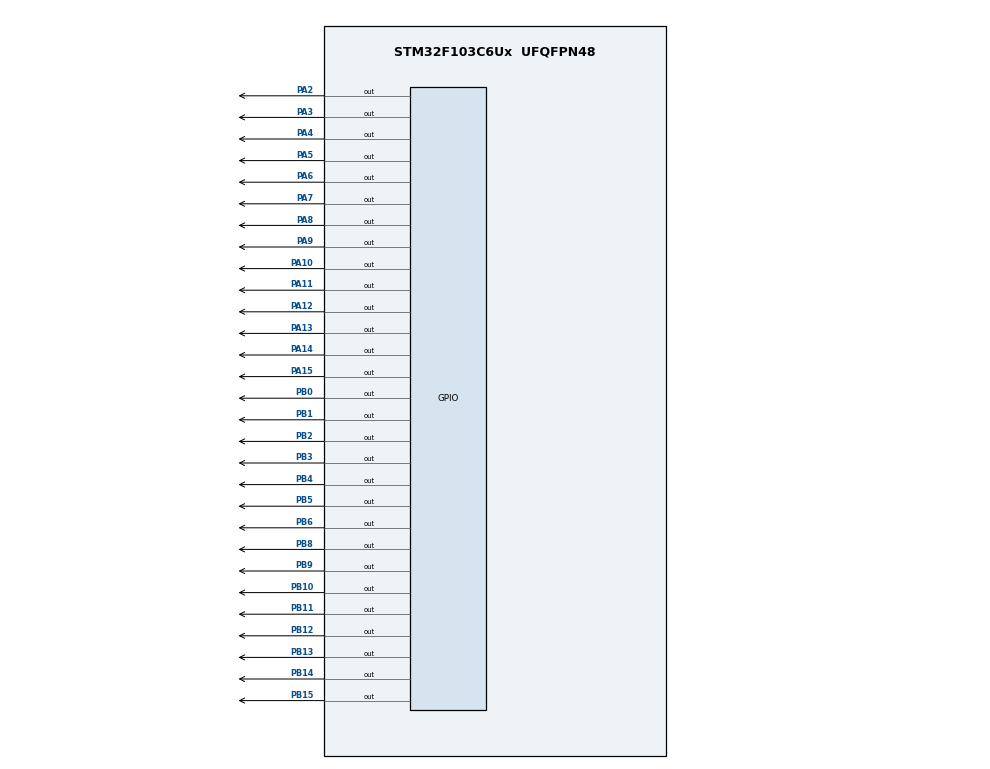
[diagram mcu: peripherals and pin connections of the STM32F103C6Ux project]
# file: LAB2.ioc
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Mcu.Family=STM32F1
Mcu.Name=STM32F103C6Ux
Mcu.Package=UFQFPN48
NVIC.PriorityGroup=NVIC_PRIORITYGROUP_4
NVIC.TIM2_IRQn=true\:0\:0\:false\:false\:true\:true\:true
PA10.Signal=GPIO_Output
PA11.Signal=GPIO_Output
PA12.Signal=GPIO_Output
PA13.Signal=GPIO_Output
PA14.Signal=GPIO_Output
PA15.Signal=GPIO_Output
PA2.Signal=GPIO_Output
PA3.Signal=GPIO_Output
PA4.Signal=GPIO_Output
PA5.Signal=GPIO_Output
PA6.Signal=GPIO_Output
PA7.Signal=GPIO_Output
PA8.Signal=GPIO_Output
PA9.Signal=GPIO_Output
PB0.Signal=GPIO_Output
PB1.Signal=GPIO_Output
PB10.Signal=GPIO_Output
PB11.Signal=GPIO_Output
PB12.Signal=GPIO_Output
PB13.Signal=GPIO_Output
PB14.Signal=GPIO_Output
PB15.Signal=GPIO_Output
PB2.Signal=GPIO_Output
PB3.Signal=GPIO_Output
PB4.Signal=GPIO_Output
PB5.Signal=GPIO_Output
PB6.Signal=GPIO_Output
PB8.Signal=GPIO_Output
PB9.Signal=GPIO_Output
ProjectManager.HeapSize=0x200
ProjectManager.StackSize=0x400
ProjectManager.TargetToolchain=STM32CubeIDE
RCC.APB1Freq_Value=8000000
RCC.APB2Freq_Value=8000000
TIM2.Period=9
TIM2.Prescaler=7999
VP_SYS_VS_ND.Mode=No_Debug
VP_TIM2_VS_ClockSourceINT.Mode=Internal
board=custom

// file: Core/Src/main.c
/* USER CODE BEGIN Header */
/**
  ******************************************************************************
  * @file           : main.c
  * @brief          : Main program body
  ******************************************************************************
  * @attention
  *
  * <h2><center>&copy; Copyright (c) 2026 STMicroelectronics.
  * All rights reserved.</center></h2>
  *
  * This software component is licensed by ST under BSD 3-Clause license,
  * the "License"; You may not use this file except in compliance with the
  * License. You may obtain a copy of the License at:
  *                        opensource.org/licenses/BSD-3-Clause
  *
  ******************************************************************************
  */
/* USER CODE END Header */
#include "main.h"

TIM_HandleTypeDef htim2;

void SystemClock_Config(void);
static void MX_GPIO_Init(void);
static void MX_TIM2_Init(void);

/* USER CODE BEGIN 0 */
#define MAX_LED 4

int index_led = 0;
volatile int led_buffer[MAX_LED] = {1, 2, 3, 0};

int hour = 15, minute = 8, second = 50;

// Bien dem cho cac bai quet LED bang ngat (EX1 -> EX5, EX7)
int seg_counter = 50;
int dot_counter = 100;
int led_status  = 0;

void display7SEG(int num) {
    const uint8_t segmentTable[10] = {0x3F, 0x06, 0x5B, 0x4F, 0x66,
                                      0x6D, 0x7D, 0x07, 0x7F, 0x6F};
    if (num < 0 || num > 9) return;
    uint8_t pattern = segmentTable[num];
    for (int i = 0; i < 7; i++) {
        HAL_GPIO_WritePin(GPIOB, (uint16_t)(GPIO_PIN_0 << i),
                          (pattern & (1 << i)) ? GPIO_PIN_RESET : GPIO_PIN_SET);
    }
}

void turnOffAll7SEG(void) {
    HAL_GPIO_WritePin(GPIOA, GPIO_PIN_6 | GPIO_PIN_7 | GPIO_PIN_8 | GPIO_PIN_9,
                      GPIO_PIN_SET);
}

// EX3: hien thi LED thu index voi gia tri led_buffer[index]
void update7SEG(int index) {
    turnOffAll7SEG();   // tat het truoc de chong bong ma
    switch (index) {
        case 0:
            display7SEG(led_buffer[0]);
            HAL_GPIO_WritePin(GPIOA, GPIO_PIN_6, GPIO_PIN_RESET);
            break;
        case 1:
            display7SEG(led_buffer[1]);
            HAL_GPIO_WritePin(GPIOA, GPIO_PIN_7, GPIO_PIN_RESET);
            break;
        case 2:
            display7SEG(led_buffer[2]);
            HAL_GPIO_WritePin(GPIOA, GPIO_PIN_8, GPIO_PIN_RESET);
            break;
        case 3:
            display7SEG(led_buffer[3]);
            HAL_GPIO_WritePin(GPIOA, GPIO_PIN_9, GPIO_PIN_RESET);
            break;
        default:
            break;
    }
}

// EX5: tach gio/phut thanh 4 chu so, them so 0 o dau neu can
void updateClockBuffer(void) {
    led_buffer[0] = hour / 10;
    led_buffer[1] = hour % 10;
    led_buffer[2] = minute / 10;
    led_buffer[3] = minute % 10;
}

void updateClock(void) {
    second++;
    if (second >= 60) { second = 0; minute++; }
    if (minute >= 60) { minute = 0; hour++; }
    if (hour >= 24)   { hour = 0; }
}

// EX6: software timer
// timer0: dong ho / LED do, timer1: quet 7SEG,
// timer2: quet LED matrix (EX9), timer3: animation matrix (EX10)
volatile int timer0_counter = 0;
volatile int timer0_flag = 0;
volatile int timer1_counter = 0;
volatile int timer1_flag = 0;
volatile int timer2_counter = 0;
volatile int timer2_flag = 0;
volatile int timer3_counter = 0;
volatile int timer3_flag = 0;
int TIMER_CYCLE = 10;   // chu ky ngat TIM2 = 10ms

void setTimer0(int duration) {
    timer0_flag = 0;                          // xoa flag TRUOC khi nap counter
    timer0_counter = duration / TIMER_CYCLE;
}

void setTimer1(int duration) {
    timer1_flag = 0;                          // xoa flag TRUOC khi nap counter
    timer1_counter = duration / TIMER_CYCLE;
}

void setTimer2(int duration) {
    timer2_flag = 0;                          // xoa flag TRUOC khi nap counter
    timer2_counter = duration / TIMER_CYCLE;
}

void setTimer3(int duration) {
    timer3_flag = 0;                          // xoa flag TRUOC khi nap counter
    timer3_counter = duration / TIMER_CYCLE;
}

void timer_run(void) {
    if (timer0_counter > 0) {
        timer0_counter--;
        if (timer0_counter == 0) timer0_flag = 1;
    }
    if (timer1_counter > 0) {
        timer1_counter--;
        if (timer1_counter == 0) timer1_flag = 1;
    }
    if (timer2_counter > 0) {
        timer2_counter--;
        if (timer2_counter == 0) timer2_flag = 1;
    }
    if (timer3_counter > 0) {
        timer3_counter--;
        if (timer3_counter == 0) timer3_flag = 1;
    }
}

// EX9: LED matrix 8x8
// ROW0..ROW7 = PB8..PB15 : du lieu cua 1 cot (bit i -> ROWi)
// ENM0..ENM7 = PA2, PA3, PA10, PA11, PA12, PA13, PA14, PA15 : chon cot qua ULN2803
//              (theo Figure 1.7: COL co dien tro keo len +3.3V,
//               ENM = 0 -> ULN2803 tat -> COL len 3.3V -> cot duoc cap dien;
//               ROW = 0 -> LED o hang do sang)
// PA13/PA14 mac dinh la SWD -> matrixGPIOInit() tat SWD de dung lam GPIO.
// Luu y: tren mach that, sau khi tat SWD phai nap lai bang "Connect under reset".
#define MAX_LED_MATRIX 8
#define MATRIX_ROW_ON   GPIO_PIN_SET   // hinh bi am ban (nen sang, chu toi): doi 2 dong nay
#define MATRIX_ROW_OFF  GPIO_PIN_RESET
#define MATRIX_COL_ON   GPIO_PIN_SET// sang ca matrix / sai cot: doi 2 dong nay
#define MATRIX_COL_OFF  GPIO_PIN_RESET
#define ENM_ALL (GPIO_PIN_2 | GPIO_PIN_3 | GPIO_PIN_10 | GPIO_PIN_11 | \
                 GPIO_PIN_12 | GPIO_PIN_13 | GPIO_PIN_14 | GPIO_PIN_15)
#define ROW_ALL (GPIO_PIN_8 | GPIO_PIN_9 | GPIO_PIN_10 | GPIO_PIN_11 | \
                 GPIO_PIN_12 | GPIO_PIN_13 | GPIO_PIN_14 | GPIO_PIN_15)

const uint16_t ENM_PIN[MAX_LED_MATRIX] = {GPIO_PIN_2, GPIO_PIN_3, GPIO_PIN_10,
                                          GPIO_PIN_11, GPIO_PIN_12, GPIO_PIN_13,
                                          GPIO_PIN_14, GPIO_PIN_15};

int index_led_matrix = 0;
// Chu "A", moi byte la 1 cot (trai -> phai), bit0 = hang tren cung
//   ..XXXX..
//   .XX..XX.
//   XX....XX
//   XX....XX
//   XXXXXXXX
//   XX....XX
//   XX....XX
//   ........
uint8_t matrix_buffer[MAX_LED_MATRIX] = {0x7C, 0x7E, 0x13, 0x11,
                                         0x11, 0x13, 0x7E, 0x7C};

// Cac chan matrix chua cau hinh trong .ioc nen khoi tao o day
// (nam trong USER CODE nen khong bi mat khi generate lai)
void matrixGPIOInit(void) {
    GPIO_InitTypeDef GPIO_InitStruct = {0};
    __HAL_AFIO_REMAP_SWJ_DISABLE();   // giai phong PA13, PA14 (SWD) lam GPIO
    GPIO_InitStruct.Mode = GPIO_MODE_OUTPUT_PP;
    GPIO_InitStruct.Pull = GPIO_NOPULL;
    GPIO_InitStruct.Speed = GPIO_SPEED_FREQ_LOW;

    HAL_GPIO_WritePin(GPIOA, ENM_ALL, MATRIX_COL_OFF);
    GPIO_InitStruct.Pin = ENM_ALL;
    HAL_GPIO_Init(GPIOA, &GPIO_InitStruct);

    HAL_GPIO_WritePin(GPIOB, ROW_ALL, MATRIX_ROW_OFF);
    GPIO_InitStruct.Pin = ROW_ALL;
    HAL_GPIO_Init(GPIOB, &GPIO_InitStruct);
}

void setMatrixRow(uint8_t data) {
    for (int i = 0; i < 8; i++) {
        HAL_GPIO_WritePin(GPIOB, (uint16_t)(GPIO_PIN_8 << i),
                          ((data >> i) & 1) ? MATRIX_ROW_ON : MATRIX_ROW_OFF);
    }
}

// EX9: hien thi cot thu index voi du lieu matrix_buffer[index]
void updateLEDMatrix(int index) {
    HAL_GPIO_WritePin(GPIOA, ENM_ALL, MATRIX_COL_OFF);   // tat het, chong bong ma
    switch (index) {
        case 0: case 1: case 2: case 3:
        case 4: case 5: case 6: case 7:
            setMatrixRow(matrix_buffer[index]);
            HAL_GPIO_WritePin(GPIOA, ENM_PIN[index], MATRIX_COL_ON);
            break;
        default:
            break;
    }
}

// EX10: dich chu sang trai 1 cot, cot dau vong ve cuoi (chay vong)
void shiftLeftMatrix(void) {
    uint8_t first = matrix_buffer[0];
    for (int i = 0; i < MAX_LED_MATRIX - 1; i++) {
        matrix_buffer[i] = matrix_buffer[i + 1];
    }
    matrix_buffer[MAX_LED_MATRIX - 1] = first;
}
/* USER CODE END 0 */

int main(void)
{

  /* MCU Configuration--------------------------------------------------------*/

  /* Reset of all peripherals, Initializes the Flash interface and the Systick. */
  HAL_Init();

  /* Configure the system clock */
  SystemClock_Config();

  /* Initialize all configured peripherals */
  MX_GPIO_Init();
  MX_TIM2_Init();
  /* USER CODE BEGIN 2 */
  // Dung chung: tat het 7SEG va cac doan, tat DOT va LED do truoc khi chay
  turnOffAll7SEG();
  HAL_GPIO_WritePin(GPIOB, GPIO_PIN_0 | GPIO_PIN_1 | GPIO_PIN_2 | GPIO_PIN_3 |
                           GPIO_PIN_4 | GPIO_PIN_5 | GPIO_PIN_6, GPIO_PIN_SET);
  HAL_GPIO_WritePin(GPIOA, GPIO_PIN_4 | GPIO_PIN_5, GPIO_PIN_SET);
  HAL_GPIO_WritePin(GPIOA, ENM_ALL, MATRIX_COL_OFF);   // tat LED matrix
  HAL_GPIO_WritePin(GPIOB, ROW_ALL, MATRIX_ROW_OFF);

  /* ===== EX3 [INIT]: doi led_buffer de unit test update7SEG =====
  led_buffer[0] = 1; led_buffer[1] = 2; led_buffer[2] = 3; led_buffer[3] = 4;
  // */

/* ===== EX5 [INIT]: nap gio ban dau vao buffer =====
  updateClockBuffer();
  // */

  /* ===== EX6 [INIT] =====
  setTimer0(1000);      // Report 1/2/3: thu xoa dong nay, doi thanh 1 hoac 10
  // */

 /* ===== EX7 [INIT] =====
  updateClockBuffer();
  setTimer0(1000);      // timer0: dong ho + DOT, 1s
  // */

 /* ===== EX8 [INIT] =====
  updateClockBuffer();
  setTimer0(1000);      // timer0: dong ho + DOT, 1s
  setTimer1(250);       // timer1: quet 7SEG, 250ms moi LED -> 1Hz
  // */

 //* ===== EX9 [INIT]: bat THEM cac block EX8 =====
  matrixGPIOInit();     // cau hinh chan matrix (ca PA13, PA14)
  setTimer2(10);        // timer2: quet matrix, 10ms moi cot
  // */

 //* ===== EX10 [INIT]: bat THEM cac block EX8 + EX9 =====
  setTimer3(300);       // timer3: dich chu moi 300ms
  // */

  HAL_TIM_Base_Start_IT(&htim2);
  /* USER CODE END 2 */

  /* Infinite loop */
  /* USER CODE BEGIN WHILE */
  while (1)
  {
    /* ===== EX5 [WHILE]: dong ho dung HAL_Delay (blocking) =====
      updateClock();
      updateClockBuffer();
      HAL_Delay(1000);
      // */

     /* ===== EX6 [WHILE]: nhay LED do PA5 bang software timer =====
      if (timer0_flag == 1) {
          HAL_GPIO_TogglePin(GPIOA, GPIO_PIN_5);
          setTimer0(2000);
      }
      // */

     /* ===== EX7 [WHILE]: dong ho + DOT o main, quet 7SEG van o ngat =====
      if (timer0_flag == 1) {
          setTimer0(1000);
          updateClock();
          updateClockBuffer();
          HAL_GPIO_TogglePin(GPIOA, GPIO_PIN_4);   // DOT
      }
      // */

     /* ===== EX8 [WHILE]: moi xu ly deu o main =====
      if (timer1_flag == 1) {
          setTimer1(250);
          update7SEG(index_led++);
          if (index_led >= MAX_LED) index_led = 0;
      }
      if (timer0_flag == 1) {
          setTimer0(1000);
          updateClock();
          updateClockBuffer();
          HAL_GPIO_TogglePin(GPIOA, GPIO_PIN_4);   // DOT
      }
      // */

    //* ===== EX9 [WHILE]: quet LED matrix hien chu "A" =====
      if (timer2_flag == 1) {
          setTimer2(10);
          updateLEDMatrix(index_led_matrix++);
          if (index_led_matrix >= MAX_LED_MATRIX) index_led_matrix = 0;
      }
      // */

    //* ===== EX10 [WHILE]: animation - chu "A" chay sang trai =====
      if (timer3_flag == 1) {
          setTimer3(300);
          shiftLeftMatrix();
      }
      // */
    /* USER CODE END WHILE */

  }
}

void SystemClock_Config(void)
{
  RCC_OscInitTypeDef RCC_OscInitStruct = {0};
  RCC_ClkInitTypeDef RCC_ClkInitStruct = {0};

  /** Initializes the RCC Oscillators according to the specified parameters
  * in the RCC_OscInitTypeDef structure.
  */
  RCC_OscInitStruct.OscillatorType = RCC_OSCILLATORTYPE_HSI;
  RCC_OscInitStruct.HSIState = RCC_HSI_ON;
  RCC_OscInitStruct.HSICalibrationValue = RCC_HSICALIBRATION_DEFAULT;
  RCC_OscInitStruct.PLL.PLLState = RCC_PLL_NONE;
  if (HAL_RCC_OscConfig(&RCC_OscInitStruct) != HAL_OK)
  {
    Error_Handler();
  }
  /** Initializes the CPU, AHB and APB buses clocks
  */
  RCC_ClkInitStruct.ClockType = RCC_CLOCKTYPE_HCLK|RCC_CLOCKTYPE_SYSCLK
                              |RCC_CLOCKTYPE_PCLK1|RCC_CLOCKTYPE_PCLK2;
  RCC_ClkInitStruct.SYSCLKSource = RCC_SYSCLKSOURCE_HSI;
  RCC_ClkInitStruct.AHBCLKDivider = RCC_SYSCLK_DIV1;
  RCC_ClkInitStruct.APB1CLKDivider = RCC_HCLK_DIV1;
  RCC_ClkInitStruct.APB2CLKDivider = RCC_HCLK_DIV1;

  if (HAL_RCC_ClockConfig(&RCC_ClkInitStruct, FLASH_LATENCY_0) != HAL_OK)
  {
    Error_Handler();
  }
}

static void MX_TIM2_Init(void)
{

  TIM_ClockConfigTypeDef sClockSourceConfig = {0};
  TIM_MasterConfigTypeDef sMasterConfig = {0};

  htim2.Instance = TIM2;
  htim2.Init.Prescaler = 7999;
  htim2.Init.CounterMode = TIM_COUNTERMODE_UP;
  htim2.Init.Period = 9;
  htim2.Init.ClockDivision = TIM_CLOCKDIVISION_DIV1;
  htim2.Init.AutoReloadPreload = TIM_AUTORELOAD_PRELOAD_DISABLE;
  if (HAL_TIM_Base_Init(&htim2) != HAL_OK)
  {
    Error_Handler();
  }
  sClockSourceConfig.ClockSource = TIM_CLOCKSOURCE_INTERNAL;
  if (HAL_TIM_ConfigClockSource(&htim2, &sClockSourceConfig) != HAL_OK)
  {
    Error_Handler();
  }
  sMasterConfig.MasterOutputTrigger = TIM_TRGO_RESET;
  sMasterConfig.MasterSlaveMode = TIM_MASTERSLAVEMODE_DISABLE;
  if (HAL_TIMEx_MasterConfigSynchronization(&htim2, &sMasterConfig) != HAL_OK)
  {
    Error_Handler();
  }

}

static void MX_GPIO_Init(void)
{
  GPIO_InitTypeDef GPIO_InitStruct = {0};

  /* GPIO Ports Clock Enable */
  __HAL_RCC_GPIOA_CLK_ENABLE();
  __HAL_RCC_GPIOB_CLK_ENABLE();

  /*Configure GPIO pin Output Level */
  HAL_GPIO_WritePin(GPIOA, GPIO_PIN_2|GPIO_PIN_3|GPIO_PIN_4|GPIO_PIN_5
                          |GPIO_PIN_6|GPIO_PIN_7|GPIO_PIN_8|GPIO_PIN_9
                          |GPIO_PIN_10|GPIO_PIN_11|GPIO_PIN_12|GPIO_PIN_13
                          |GPIO_PIN_14|GPIO_PIN_15, GPIO_PIN_RESET);

  /*Configure GPIO pin Output Level */
  HAL_GPIO_WritePin(GPIOB, GPIO_PIN_0|GPIO_PIN_1|GPIO_PIN_2|GPIO_PIN_10
                          |GPIO_PIN_11|GPIO_PIN_12|GPIO_PIN_13|GPIO_PIN_14
                          |GPIO_PIN_15|GPIO_PIN_3|GPIO_PIN_4|GPIO_PIN_5
                          |GPIO_PIN_6|GPIO_PIN_8|GPIO_PIN_9, GPIO_PIN_RESET);

  /*Configure GPIO pins : PA2 PA3 PA4 PA5
                           PA6 PA7 PA8 PA9
                           PA10 PA11 PA12 PA13
                           PA14 PA15 */
  GPIO_InitStruct.Pin = GPIO_PIN_2|GPIO_PIN_3|GPIO_PIN_4|GPIO_PIN_5
                          |GPIO_PIN_6|GPIO_PIN_7|GPIO_PIN_8|GPIO_PIN_9
                          |GPIO_PIN_10|GPIO_PIN_11|GPIO_PIN_12|GPIO_PIN_13
                          |GPIO_PIN_14|GPIO_PIN_15;
  GPIO_InitStruct.Mode = GPIO_MODE_OUTPUT_PP;
  GPIO_InitStruct.Pull = GPIO_NOPULL;
  GPIO_InitStruct.Speed = GPIO_SPEED_FREQ_LOW;
  HAL_GPIO_Init(GPIOA, &GPIO_InitStruct);

  /*Configure GPIO pins : PB0 PB1 PB2 PB10
                           PB11 PB12 PB13 PB14
                           PB15 PB3 PB4 PB5
                           PB6 PB8 PB9 */
  GPIO_InitStruct.Pin = GPIO_PIN_0|GPIO_PIN_1|GPIO_PIN_2|GPIO_PIN_10
                          |GPIO_PIN_11|GPIO_PIN_12|GPIO_PIN_13|GPIO_PIN_14
                          |GPIO_PIN_15|GPIO_PIN_3|GPIO_PIN_4|GPIO_PIN_5
                          |GPIO_PIN_6|GPIO_PIN_8|GPIO_PIN_9;
  GPIO_InitStruct.Mode = GPIO_MODE_OUTPUT_PP;
  GPIO_InitStruct.Pull = GPIO_NOPULL;
  GPIO_InitStruct.Speed = GPIO_SPEED_FREQ_LOW;
  HAL_GPIO_Init(GPIOB, &GPIO_InitStruct);

}

/* USER CODE BEGIN 4 */
void HAL_TIM_PeriodElapsedCallback(TIM_HandleTypeDef *htim) {
    if (htim->Instance != TIM2) return;

    /* ===== EX1 [ISR]: 2 LED, "1" va "2", doi moi 500ms (f quet = 1Hz) =====
    seg_counter--;
    if (seg_counter <= 0) {
        seg_counter = 50;
        turnOffAll7SEG();
        if (led_status == 0) {
            display7SEG(1);
            HAL_GPIO_WritePin(GPIOA, GPIO_PIN_6, GPIO_PIN_RESET);   // EN0
            led_status = 1;
        } else {
            display7SEG(2);
            HAL_GPIO_WritePin(GPIOA, GPIO_PIN_7, GPIO_PIN_RESET);   // EN1
            led_status = 0;
        }
    }
    // */

    //* ===== EX2 [ISR]: 4 LED "1 2 3 0", moi LED 500ms (f = 0.5Hz), DOT 1s =====
    dot_counter--;
    if (dot_counter <= 0) {
        dot_counter = 100;
        HAL_GPIO_TogglePin(GPIOA, GPIO_PIN_4);
    }
    seg_counter--;
    if (seg_counter <= 0) {
        seg_counter = 50;
        turnOffAll7SEG();
        switch (led_status) {
            case 0: display7SEG(1); HAL_GPIO_WritePin(GPIOA, GPIO_PIN_6, GPIO_PIN_RESET); break;
            case 1: display7SEG(2); HAL_GPIO_WritePin(GPIOA, GPIO_PIN_7, GPIO_PIN_RESET); break;
            case 2: display7SEG(3); HAL_GPIO_WritePin(GPIOA, GPIO_PIN_8, GPIO_PIN_RESET); break;
            case 3: display7SEG(0); HAL_GPIO_WritePin(GPIOA, GPIO_PIN_9, GPIO_PIN_RESET); break;
        }
        led_status = (led_status + 1) % 4;
    }
    // */

    /* ===== EX3 [ISR]: dung update7SEG, moi LED 500ms, DOT 1s =====
    dot_counter--;
    if (dot_counter <= 0) {
        dot_counter = 100;
        HAL_GPIO_TogglePin(GPIOA, GPIO_PIN_4);
    }
    seg_counter--;
    if (seg_counter <= 0) {
        seg_counter = 50;
        update7SEG(index_led++);
        if (index_led >= MAX_LED) index_led = 0;
    }
    // */

 /* ===== EX4 + EX5 [ISR]: moi LED 250ms -> 4 LED = 1Hz, DOT 1s =====
    dot_counter--;
    if (dot_counter <= 0) {
        dot_counter = 100;
        HAL_GPIO_TogglePin(GPIOA, GPIO_PIN_4);
    }
    seg_counter--;
    if (seg_counter <= 0) {
        seg_counter = 25;
        update7SEG(index_led++);
        if (index_led >= MAX_LED) index_led = 0;
    }
    // */

 //* ===== EX6 + EX8 [ISR]: ngat chi chay software timer (EX9, EX10 dung chung) =====
    timer_run();
    // */

  /* ===== EX7 [ISR]: software timer + quet 7SEG (DOT da chuyen len main) =====
    timer_run();
    seg_counter--;
    if (seg_counter <= 0) {
        seg_counter = 25;
        update7SEG(index_led++);
        if (index_led >= MAX_LED) index_led = 0;
    }
    // */
}
/* USER CODE END 4 */

void Error_Handler(void)
{
  __disable_irq();
  while (1)
  {
  }
}

/************************ (C) COPYRIGHT STMicroelectronics *****END OF FILE****/
